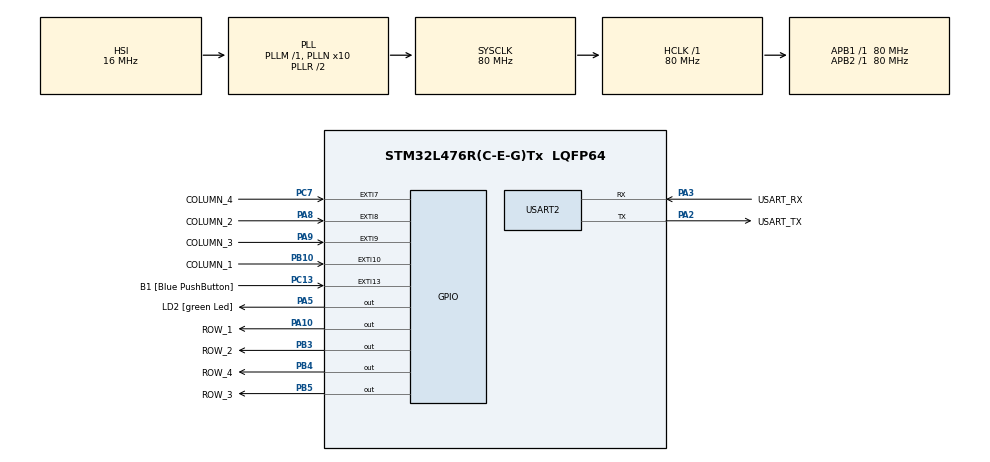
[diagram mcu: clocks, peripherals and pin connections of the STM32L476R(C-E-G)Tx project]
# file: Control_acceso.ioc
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Mcu.Family=STM32L4
Mcu.Name=STM32L476R(C-E-G)Tx
Mcu.Package=LQFP64
NVIC.EXTI15_10_IRQn=true\:0\:0\:false\:false\:true\:true\:true\:true
NVIC.EXTI9_5_IRQn=true\:0\:0\:false\:false\:true\:true\:true\:true
NVIC.PriorityGroup=NVIC_PRIORITYGROUP_4
NVIC.USART2_IRQn=true\:0\:0\:false\:false\:true\:true\:true\:true
PA10.GPIO_Label=ROW_1
PA10.GPIO_ModeDefaultOutputPP=GPIO_MODE_OUTPUT_OD
PA10.GPIO_PuPd=GPIO_NOPULL
PA10.GPIO_Speed=GPIO_SPEED_FREQ_VERY_HIGH
PA10.PinState=GPIO_PIN_RESET
PA10.Signal=GPIO_Output
PA13\ (JTMS-SWDIO).GPIO_Label=TMS
PA13\ (JTMS-SWDIO).Mode=Serial_Wire
PA13\ (JTMS-SWDIO).Signal=SYS_JTMS-SWDIO
PA14\ (JTCK-SWCLK).GPIO_Label=TCK
PA14\ (JTCK-SWCLK).Mode=Serial_Wire
PA14\ (JTCK-SWCLK).Signal=SYS_JTCK-SWCLK
PA2.GPIO_Label=USART_TX
PA2.GPIO_Mode=GPIO_MODE_AF_PP
PA2.GPIO_PuPd=GPIO_NOPULL
PA2.GPIO_Speed=GPIO_SPEED_FREQ_VERY_HIGH
PA2.Mode=Asynchronous
PA2.Signal=USART2_TX
PA3.GPIO_Label=USART_RX
PA3.GPIO_Mode=GPIO_MODE_AF_PP
PA3.GPIO_PuPd=GPIO_NOPULL
PA3.GPIO_Speed=GPIO_SPEED_FREQ_VERY_HIGH
PA3.Mode=Asynchronous
PA3.Signal=USART2_RX
PA5.GPIO_Label=LD2 [green Led]
PA5.GPIO_ModeDefaultOutputPP=GPIO_MODE_OUTPUT_PP
PA5.GPIO_PuPd=GPIO_NOPULL
PA5.GPIO_Speed=GPIO_SPEED_FREQ_LOW
PA5.Signal=GPIO_Output
PA8.GPIO_Label=COLUMN_2
PA8.GPIO_ModeDefaultEXTI=GPIO_MODE_IT_FALLING
PA8.GPIO_PuPd=GPIO_PULLUP
PA8.Signal=GPXTI8
PA9.GPIO_Label=COLUMN_3
PA9.GPIO_ModeDefaultEXTI=GPIO_MODE_IT_FALLING
PA9.GPIO_PuPd=GPIO_PULLUP
PA9.Signal=GPXTI9
PB10.GPIO_Label=COLUMN_1
PB10.GPIO_ModeDefaultEXTI=GPIO_MODE_IT_FALLING
PB10.GPIO_PuPd=GPIO_PULLUP
PB10.Signal=GPXTI10
PB3\ (JTDO-TRACESWO).GPIO_Label=ROW_2
PB3\ (JTDO-TRACESWO).GPIO_ModeDefaultOutputPP=GPIO_MODE_OUTPUT_OD
PB3\ (JTDO-TRACESWO).GPIO_PuPd=GPIO_NOPULL
PB3\ (JTDO-TRACESWO).GPIO_Speed=GPIO_SPEED_FREQ_VERY_HIGH
PB3\ (JTDO-TRACESWO).PinState=GPIO_PIN_RESET
PB3\ (JTDO-TRACESWO).Signal=GPIO_Output
PB4\ (NJTRST).GPIO_Label=ROW_4
PB4\ (NJTRST).GPIO_ModeDefaultOutputPP=GPIO_MODE_OUTPUT_OD
PB4\ (NJTRST).GPIO_PuPd=GPIO_NOPULL
PB4\ (NJTRST).GPIO_Speed=GPIO_SPEED_FREQ_VERY_HIGH
PB4\ (NJTRST).PinState=GPIO_PIN_RESET
PB4\ (NJTRST).Signal=GPIO_Output
PB5.GPIO_Label=ROW_3
PB5.GPIO_ModeDefaultOutputPP=GPIO_MODE_OUTPUT_OD
PB5.GPIO_PuPd=GPIO_NOPULL
PB5.GPIO_Speed=GPIO_SPEED_FREQ_VERY_HIGH
PB5.PinState=GPIO_PIN_RESET
PB5.Signal=GPIO_Output
PC13.GPIO_Label=B1 [Blue PushButton]
PC13.GPIO_ModeDefaultEXTI=GPIO_MODE_IT_FALLING
PC13.GPIO_PuPd=GPIO_NOPULL
PC13.Signal=GPXTI13
PC14-OSC32_IN\ (PC14).Mode=LSE-External-Oscillator
PC14-OSC32_IN\ (PC14).Signal=RCC_OSC32_IN
PC15-OSC32_OUT\ (PC15).Mode=LSE-External-Oscillator
PC15-OSC32_OUT\ (PC15).Signal=RCC_OSC32_OUT
PC7.GPIO_Label=COLUMN_4
PC7.GPIO_ModeDefaultEXTI=GPIO_MODE_IT_FALLING
PC7.GPIO_PuPd=GPIO_PULLUP
PC7.Signal=GPXTI7
PH0-OSC_IN\ (PH0).Signal=RCC_OSC_IN
PH1-OSC_OUT\ (PH1).Signal=RCC_OSC_OUT
ProjectManager.HeapSize=0x200
ProjectManager.StackSize=0x400
ProjectManager.TargetToolchain=CMake
RCC.ADCFreq_Value=64000000
RCC.AHBFreq_Value=80000000
RCC.APB1Freq_Value=80000000
RCC.APB1TimFreq_Value=80000000
RCC.APB2Freq_Value=80000000
RCC.APB2TimFreq_Value=80000000
RCC.CortexFreq_Value=80000000
RCC.HCLKFreq_Value=80000000
RCC.HSE_VALUE=8000000
RCC.HSI_VALUE=16000000
RCC.MSI_VALUE=4000000
RCC.PLLN=10
RCC.PLLSourceVirtual=RCC_PLLSOURCE_HSI
RCC.PREFETCH_ENABLE=1
RCC.SYSCLKFreq_VALUE=80000000
RCC.SYSCLKSource=RCC_SYSCLKSOURCE_PLLCLK
RCC.USBFreq_Value=64000000
RCC.VCOOutputFreq_Value=160000000
USART2.VirtualMode-Asynchronous=VM_ASYNC
board=NUCLEO-L476RG

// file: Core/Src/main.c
/* USER CODE BEGIN Header */
/**
  ******************************************************************************
  * @file           : main.c
  * @brief          : Main program body
  ******************************************************************************
  * @attention
  *
  * Copyright (c) 2025 STMicroelectronics.
  * All rights reserved.
  *
  * This software is licensed under terms that can be found in the LICENSE file
  * in the root directory of this software component.
  * If no LICENSE file comes with this software, it is provided AS-IS.
  *
  ******************************************************************************
  */
/* USER CODE END Header */
#include "main.h"
#include <stdbool.h>
#include <string.h>
/* USER CODE BEGIN Includes */
#include "keypad.h"
#include "ring_buffer.h"
/* USER CODE END Includes */

UART_HandleTypeDef huart2;

/* USER CODE BEGIN PV */
uint8_t rx_byte;
/* USER CODE END PV */

void SystemClock_Config(void);
static void MX_GPIO_Init(void);
static void MX_USART2_UART_Init(void);

/* USER CODE BEGIN 0 */
uint32_t key_pressed_tick = 0;
uint16_t column_pressed = 0;

uint32_t debounce_tick = 0;
void HAL_GPIO_EXTI_Callback(uint16_t GPIO_Pin)
{
  if ((HAL_GetTick() - debounce_tick) < 200) { // 150 ms timeout
    return;
  }
  debounce_tick = HAL_GetTick();
  key_pressed_tick = HAL_GetTick();
  column_pressed = GPIO_Pin;
}
// Command definitions --------------------------------
#define PASSWORD_LENGTH 5
#define COMMAND_LENGTH 1
#define PASSWORD "12345"
typedef enum {
  CMD_OPEN,
  CMD_CLOSE,
  CMD_STATUS,
  CMD_CLEAR
} command_t;

bool is_authenticated = false;  // Estado de autenticación

char password_entered[PASSWORD_LENGTH + 1];
uint8_t password_index = 0;

ring_buffer_t rx_buffer;
uint8_t rx_buffer_mem[64];
char current_cmd[COMMAND_LENGTH];
uint8_t cmd_index = 0;

// Function to check if the entered password is correct
bool check_password(const char *entered_password) {
  return strcmp(entered_password, PASSWORD) == 0;
}

// UART asociated Callback
void HAL_UART_RxCpltCallback(UART_HandleTypeDef *huart) {
  if (huart == &huart2) {
      ring_buffer_write(&rx_buffer, rx_byte);
      HAL_UART_Transmit(&huart2, &rx_byte, 1, 100);
      HAL_UART_Receive_IT(&huart2, &rx_byte, 1);
  }
}

// New helper function
void uart_send_string(const char *str) {
  HAL_UART_Transmit(&huart2, (uint8_t *)str, strlen(str), 100);
}

// Function to display the menu
void display_menu(void) {
  uart_send_string("\r\nMenu de opciones:\r\n");
  uart_send_string("A: Abrir puerta\r\n");
  uart_send_string("C: Cerrar puerta\r\n");
  uart_send_string("1: Estado de la puerta\r\n");
  uart_send_string("0: Bloquear sistema\r\n");
}

void process_commands(void) {
  uint8_t byte;
  while (ring_buffer_read(&rx_buffer, &byte)) {
      // Shift buffer left and append new byte
      memmove(password_entered, password_entered + 1, PASSWORD_LENGTH - 1);
      password_entered[PASSWORD_LENGTH - 1] = (char)byte;

      if (!is_authenticated) {
          if (check_password(password_entered)) {
            ring_buffer_reset(&rx_buffer);

              is_authenticated = true;
              uart_send_string("\r\nPassword correct. Access granted.\r\n");
              display_menu(); // Display the menu after successful authentication
          }
      } else {
          // Check for full command match
          ring_buffer_reset(&rx_buffer);
          switch (byte) {
              case 'A':
                  HAL_GPIO_WritePin(LD2_GPIO_Port, LD2_Pin, GPIO_PIN_SET);
                  uart_send_string("\r\nSend command A\r\nDoor open (turn ON LD2)\r\n");
                  ring_buffer_reset(&rx_buffer);
                  break;
              case 'C':
                  HAL_GPIO_WritePin(LD2_GPIO_Port, LD2_Pin, GPIO_PIN_RESET);
                  uart_send_string("\r\nSend command C\r\nDoor closed (turn OFF LD2)\r\n");
                  ring_buffer_reset(&rx_buffer);
                  break;
              case '1':
                  uint8_t state = HAL_GPIO_ReadPin(LD2_GPIO_Port, LD2_Pin);
                  uart_send_string(state ? "\r\nSend command 1\r\nDoor status: open (LD2 ON)\r\n" : "Send command #*1*#\r\nDoor status: closed (LD2 OFF)\r\n");
                  ring_buffer_reset(&rx_buffer);
                  break;
              case '0':
                  ring_buffer_reset(&rx_buffer);
                  uart_send_string("\r\nSend command 0\r\nRing buffer clear command: The buffer is empty\r\n");
                  HAL_GPIO_WritePin(LD2_GPIO_Port, LD2_Pin, GPIO_PIN_RESET); // Close the door
                  is_authenticated = false; // Lock the system
                  uart_send_string("\r\nSystem locked. Please enter the password to unlock.\r\n");
                  break;
              default:

                  uart_send_string("\r\nUnknown command.\r\n");
                  break;
          }
      }
  }
}
/* USER CODE END 0 */

int main(void)
{

  /* MCU Configuration--------------------------------------------------------*/

  /* Reset of all peripherals, Initializes the Flash interface and the Systick. */
  HAL_Init();

  /* Configure the system clock */
  SystemClock_Config();

  /* Initialize all configured peripherals */
  MX_GPIO_Init();
  MX_USART2_UART_Init();

  /* Infinite loop */
  /* USER CODE BEGIN WHILE */
    keypad_init();
    ring_buffer_init(&rx_buffer, rx_buffer_mem, sizeof(rx_buffer_mem));
    memset(current_cmd, 0, COMMAND_LENGTH);
    HAL_UART_Receive_IT(&huart2, &rx_byte, 1); // Start UART interrupt
    while (1) {
      if (column_pressed != 0 && (key_pressed_tick + 5) < HAL_GetTick() ) {
        uint8_t key = keypad_scan(column_pressed);
        ring_buffer_write(&rx_buffer, key);
        HAL_UART_Transmit(&huart2, &key, 1, 100);
        column_pressed = 0;
      }
      process_commands();

    /* USER CODE END WHILE */

  }
}

void SystemClock_Config(void)
{
  RCC_OscInitTypeDef RCC_OscInitStruct = {0};
  RCC_ClkInitTypeDef RCC_ClkInitStruct = {0};

  /** Configure the main internal regulator output voltage
  */
  if (HAL_PWREx_ControlVoltageScaling(PWR_REGULATOR_VOLTAGE_SCALE1) != HAL_OK)
  {
    Error_Handler();
  }

  /** Initializes the RCC Oscillators according to the specified parameters
  * in the RCC_OscInitTypeDef structure.
  */
  RCC_OscInitStruct.OscillatorType = RCC_OSCILLATORTYPE_HSI;
  RCC_OscInitStruct.HSIState = RCC_HSI_ON;
  RCC_OscInitStruct.HSICalibrationValue = RCC_HSICALIBRATION_DEFAULT;
  RCC_OscInitStruct.PLL.PLLState = RCC_PLL_ON;
  RCC_OscInitStruct.PLL.PLLSource = RCC_PLLSOURCE_HSI;
  RCC_OscInitStruct.PLL.PLLM = 1;
  RCC_OscInitStruct.PLL.PLLN = 10;
  RCC_OscInitStruct.PLL.PLLP = RCC_PLLP_DIV7;
  RCC_OscInitStruct.PLL.PLLQ = RCC_PLLQ_DIV2;
  RCC_OscInitStruct.PLL.PLLR = RCC_PLLR_DIV2;
  if (HAL_RCC_OscConfig(&RCC_OscInitStruct) != HAL_OK)
  {
    Error_Handler();
  }

  /** Initializes the CPU, AHB and APB buses clocks
  */
  RCC_ClkInitStruct.ClockType = RCC_CLOCKTYPE_HCLK|RCC_CLOCKTYPE_SYSCLK
                              |RCC_CLOCKTYPE_PCLK1|RCC_CLOCKTYPE_PCLK2;
  RCC_ClkInitStruct.SYSCLKSource = RCC_SYSCLKSOURCE_PLLCLK;
  RCC_ClkInitStruct.AHBCLKDivider = RCC_SYSCLK_DIV1;
  RCC_ClkInitStruct.APB1CLKDivider = RCC_HCLK_DIV1;
  RCC_ClkInitStruct.APB2CLKDivider = RCC_HCLK_DIV1;

  if (HAL_RCC_ClockConfig(&RCC_ClkInitStruct, FLASH_LATENCY_4) != HAL_OK)
  {
    Error_Handler();
  }
}

static void MX_USART2_UART_Init(void)
{

  huart2.Instance = USART2;
  huart2.Init.BaudRate = 115200;
  huart2.Init.WordLength = UART_WORDLENGTH_8B;
  huart2.Init.StopBits = UART_STOPBITS_1;
  huart2.Init.Parity = UART_PARITY_NONE;
  huart2.Init.Mode = UART_MODE_TX_RX;
  huart2.Init.HwFlowCtl = UART_HWCONTROL_NONE;
  huart2.Init.OverSampling = UART_OVERSAMPLING_16;
  huart2.Init.OneBitSampling = UART_ONE_BIT_SAMPLE_DISABLE;
  huart2.AdvancedInit.AdvFeatureInit = UART_ADVFEATURE_NO_INIT;
  if (HAL_UART_Init(&huart2) != HAL_OK)
  {
    Error_Handler();
  }

}

static void MX_GPIO_Init(void)
{
  GPIO_InitTypeDef GPIO_InitStruct = {0};

  /* GPIO Ports Clock Enable */
  __HAL_RCC_GPIOC_CLK_ENABLE();
  __HAL_RCC_GPIOH_CLK_ENABLE();
  __HAL_RCC_GPIOA_CLK_ENABLE();
  __HAL_RCC_GPIOB_CLK_ENABLE();

  /*Configure GPIO pin Output Level */
  HAL_GPIO_WritePin(GPIOA, LD2_Pin|ROW_1_Pin, GPIO_PIN_RESET);

  /*Configure GPIO pin Output Level */
  HAL_GPIO_WritePin(GPIOB, ROW_2_Pin|ROW_4_Pin|ROW_3_Pin, GPIO_PIN_RESET);

  /*Configure GPIO pin : B1_Pin */
  GPIO_InitStruct.Pin = B1_Pin;
  GPIO_InitStruct.Mode = GPIO_MODE_IT_FALLING;
  GPIO_InitStruct.Pull = GPIO_NOPULL;
  HAL_GPIO_Init(B1_GPIO_Port, &GPIO_InitStruct);

  /*Configure GPIO pin : LD2_Pin */
  GPIO_InitStruct.Pin = LD2_Pin;
  GPIO_InitStruct.Mode = GPIO_MODE_OUTPUT_PP;
  GPIO_InitStruct.Pull = GPIO_NOPULL;
  GPIO_InitStruct.Speed = GPIO_SPEED_FREQ_LOW;
  HAL_GPIO_Init(LD2_GPIO_Port, &GPIO_InitStruct);

  /*Configure GPIO pin : COLUMN_1_Pin */
  GPIO_InitStruct.Pin = COLUMN_1_Pin;
  GPIO_InitStruct.Mode = GPIO_MODE_IT_FALLING;
  GPIO_InitStruct.Pull = GPIO_PULLUP;
  HAL_GPIO_Init(COLUMN_1_GPIO_Port, &GPIO_InitStruct);

  /*Configure GPIO pin : COLUMN_4_Pin */
  GPIO_InitStruct.Pin = COLUMN_4_Pin;
  GPIO_InitStruct.Mode = GPIO_MODE_IT_FALLING;
  GPIO_InitStruct.Pull = GPIO_PULLUP;
  HAL_GPIO_Init(COLUMN_4_GPIO_Port, &GPIO_InitStruct);

  /*Configure GPIO pins : COLUMN_2_Pin COLUMN_3_Pin */
  GPIO_InitStruct.Pin = COLUMN_2_Pin|COLUMN_3_Pin;
  GPIO_InitStruct.Mode = GPIO_MODE_IT_FALLING;
  GPIO_InitStruct.Pull = GPIO_PULLUP;
  HAL_GPIO_Init(GPIOA, &GPIO_InitStruct);

  /*Configure GPIO pin : ROW_1_Pin */
  GPIO_InitStruct.Pin = ROW_1_Pin;
  GPIO_InitStruct.Mode = GPIO_MODE_OUTPUT_OD;
  GPIO_InitStruct.Pull = GPIO_NOPULL;
  GPIO_InitStruct.Speed = GPIO_SPEED_FREQ_VERY_HIGH;
  HAL_GPIO_Init(ROW_1_GPIO_Port, &GPIO_InitStruct);

  /*Configure GPIO pins : ROW_2_Pin ROW_4_Pin ROW_3_Pin */
  GPIO_InitStruct.Pin = ROW_2_Pin|ROW_4_Pin|ROW_3_Pin;
  GPIO_InitStruct.Mode = GPIO_MODE_OUTPUT_OD;
  GPIO_InitStruct.Pull = GPIO_NOPULL;
  GPIO_InitStruct.Speed = GPIO_SPEED_FREQ_VERY_HIGH;
  HAL_GPIO_Init(GPIOB, &GPIO_InitStruct);

  /* EXTI interrupt init*/
  HAL_NVIC_SetPriority(EXTI9_5_IRQn, 1, 0);
  HAL_NVIC_EnableIRQ(EXTI9_5_IRQn);

  HAL_NVIC_SetPriority(EXTI15_10_IRQn, 1, 0);
  HAL_NVIC_EnableIRQ(EXTI15_10_IRQn);

}

void Error_Handler(void)
{
  __disable_irq();
  while (1)
  {
  }
}
